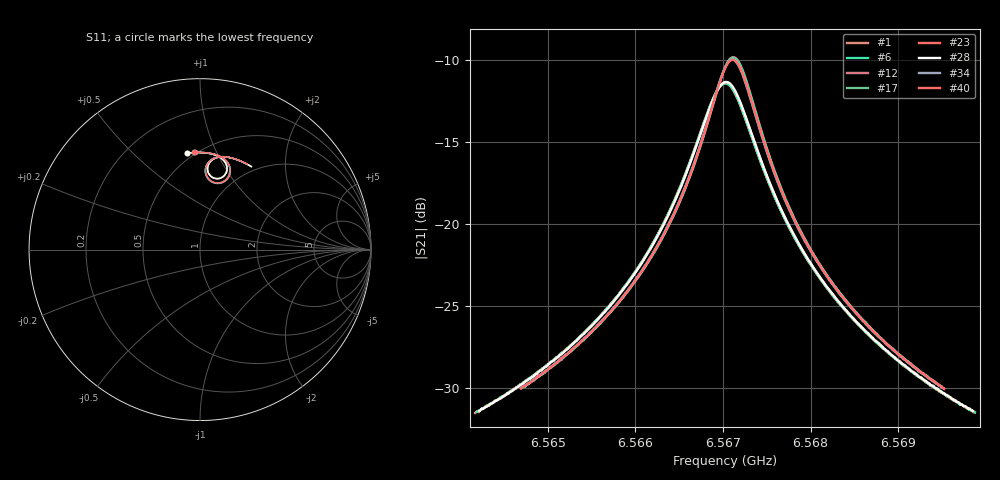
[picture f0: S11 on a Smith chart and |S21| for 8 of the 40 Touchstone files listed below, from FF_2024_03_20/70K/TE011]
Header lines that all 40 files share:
#  HZ  S  RI  R  50.00
! Rohde & Schwarz Vector Network Analyzer
! Rohde-Schwarz,ZNB20-2Port,1311601062101988,3.16
! freq[Hz]  re:S11  im:S11  re:S21  im:S21  re:S12  im:S12  re:S22  im:S22
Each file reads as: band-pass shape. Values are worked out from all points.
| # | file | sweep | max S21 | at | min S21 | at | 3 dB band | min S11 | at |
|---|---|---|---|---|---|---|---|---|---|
| 1 | 40_1_68.5_70.0406494_56879.648_110.46793699264526_.s2p | 6.564167 GHz to 6.569878 GHz | -11.44 dB | 6.567022 GHz | -31.5 dB | 6.564167 GHz | 6.566751 GHz-6.567308 GHz | -7.4 dB | 6.567022 GHz |
| 2 | 40_1_68.4996_70.0200958_7563.089_104.63719511032104_.s2p | 6.564773 GHz to 6.569473 GHz | -9.77 dB | 6.567123 GHz | -29.8 dB | 6.569473 GHz | 6.566888 GHz-6.567346 GHz | -8.0 dB | 6.567123 GHz |
| 3 | 41_1_68.4997_70.0419464_56040.934_113.00229907035828_.s2p | 6.564185 GHz to 6.569866 GHz | -11.43 dB | 6.567026 GHz | -31.5 dB | 6.569866 GHz | 6.566756 GHz-6.56731 GHz | -7.4 dB | 6.567026 GHz |
| 4 | 41_1_68.5002_70.0259399_7833.436_107.05433320999146_.s2p | 6.564771 GHz to 6.569474 GHz | -9.78 dB | 6.567122 GHz | -29.8 dB | 6.569474 GHz | 6.566887 GHz-6.567346 GHz | -8.0 dB | 6.567122 GHz |
| 5 | 42_1_68.5002_70.0216141_8073.328_109.49057865142822_.s2p | 6.564766 GHz to 6.569477 GHz | -9.79 dB | 6.567121 GHz | -29.8 dB | 6.569477 GHz | 6.566886 GHz-6.567345 GHz | -8.0 dB | 6.567121 GHz |
| 6 | 42_1_68.5003_70.0431442_55771.012_115.4502477645874_.s2p | 6.564184 GHz to 6.569869 GHz | -11.43 dB | 6.567026 GHz | -31.5 dB | 6.564184 GHz | 6.566756 GHz-6.56731 GHz | -7.4 dB | 6.567026 GHz |
| 7 | 43_1_68.5_70.0230179_8323.275_111.95527958869934_.s2p | 6.564764 GHz to 6.569477 GHz | -9.80 dB | 6.567121 GHz | -29.8 dB | 6.569477 GHz | 6.566885 GHz-6.567356 GHz | -8.0 dB | 6.567121 GHz |
| 8 | 43_1_68.4999_70.0418396_55551.566_117.8507468700409_.s2p | 6.56419 GHz to 6.569864 GHz | -11.42 dB | 6.567027 GHz | -31.5 dB | 6.569864 GHz | 6.566757 GHz-6.567311 GHz | -7.4 dB | 6.567027 GHz |
| 9 | 44_1_68.5_70.0440063_55282.25_120.26415538787842_.s2p | 6.56419 GHz to 6.569865 GHz | -11.41 dB | 6.567028 GHz | -31.5 dB | 6.569865 GHz | 6.566758 GHz-6.567311 GHz | -7.4 dB | 6.567028 GHz |
| 10 | 44_1_68.4991_70.0241013_9154.612_120.10255885124207_.s2p | 6.564757 GHz to 6.569483 GHz | -9.83 dB | 6.56712 GHz | -29.8 dB | 6.569483 GHz | 6.566884 GHz-6.567345 GHz | -8.0 dB | 6.56712 GHz |
| 11 | 45_1_68.4995_70.0430298_55061.867_122.73111820220947_.s2p | 6.564193 GHz to 6.569864 GHz | -11.41 dB | 6.567028 GHz | -31.5 dB | 6.569864 GHz | 6.566759 GHz-6.567312 GHz | -7.4 dB | 6.567028 GHz |
| 12 | 45_1_68.4999_70.0239944_9364.563_122.55794477462769_.s2p | 6.564743 GHz to 6.569492 GHz | -9.85 dB | 6.567117 GHz | -29.9 dB | 6.569492 GHz | 6.56688 GHz-6.567343 GHz | -8.0 dB | 6.567117 GHz |
| 13 | 46_1_68.4996_70.0226974_9624.753_125.04360127449036_.s2p | 6.564742 GHz to 6.569492 GHz | -9.86 dB | 6.567117 GHz | -29.9 dB | 6.569492 GHz | 6.566879 GHz-6.567343 GHz | -8.0 dB | 6.567117 GHz |
| 14 | 46_1_68.5007_70.0402374_54802.484_125.14091610908508_.s2p | 6.564195 GHz to 6.569864 GHz | -11.40 dB | 6.567029 GHz | -31.5 dB | 6.569864 GHz | 6.56676 GHz-6.567313 GHz | -7.4 dB | 6.567029 GHz |
| 15 | 47_1_68.4999_70.0198517_9875.171_127.44726133346558_.s2p | 6.564737 GHz to 6.569496 GHz | -9.87 dB | 6.567116 GHz | -29.9 dB | 6.569496 GHz | 6.566878 GHz-6.567342 GHz | -8.0 dB | 6.567116 GHz |
| 16 | 47_1_68.5003_70.0434265_54572.492_127.58570647239685_.s2p | 6.564198 GHz to 6.569862 GHz | -11.39 dB | 6.56703 GHz | -31.4 dB | 6.569862 GHz | 6.566761 GHz-6.567313 GHz | -7.4 dB | 6.56703 GHz |
| 17 | 48_1_68.4999_70.021759_10115.213_129.8547284603119_.s2p | 6.564735 GHz to 6.569496 GHz | -9.89 dB | 6.567115 GHz | -29.9 dB | 6.564735 GHz | 6.566877 GHz-6.567342 GHz | -8.0 dB | 6.567115 GHz |
| 18 | 48_1_68.4999_70.0423431_54312.621_129.97214078903198_.s2p | 6.564203 GHz to 6.569859 GHz | -11.39 dB | 6.567031 GHz | -31.5 dB | 6.569859 GHz | 6.566762 GHz-6.567314 GHz | -7.4 dB | 6.567031 GHz |
| 19 | 49_1_68.4997_70.021759_10345.691_132.269225358963_.s2p | 6.564731 GHz to 6.569499 GHz | -9.90 dB | 6.567115 GHz | -29.9 dB | 6.569499 GHz | 6.566876 GHz-6.567341 GHz | -8.0 dB | 6.567115 GHz |
| 20 | 49_1_68.4997_70.0467911_54072.859_132.44258522987366_.s2p | 6.564203 GHz to 6.56986 GHz | -11.38 dB | 6.567031 GHz | -31.4 dB | 6.56986 GHz | 6.566763 GHz-6.567314 GHz | -7.4 dB | 6.567031 GHz |
| 21 | 50_1_68.4999_70.0444031_53843.563_134.85294699668884_.s2p | 6.564205 GHz to 6.569859 GHz | -11.37 dB | 6.567032 GHz | -31.4 dB | 6.564205 GHz | 6.566763 GHz-6.567315 GHz | -7.4 dB | 6.567032 GHz |
| 22 | 50_1_68.5002_70.0207901_10605.846_134.6830735206604_.s2p | 6.564727 GHz to 6.569501 GHz | -9.90 dB | 6.567114 GHz | -29.9 dB | 6.564727 GHz | 6.566875 GHz-6.567341 GHz | -8.0 dB | 6.567114 GHz |
| 23 | 51_1_68.4999_70.047226_53594.086_137.29942393302917_.s2p | 6.564212 GHz to 6.569854 GHz | -11.37 dB | 6.567033 GHz | -31.4 dB | 6.564212 GHz | 6.566765 GHz-6.567315 GHz | -7.4 dB | 6.567033 GHz |
| 24 | 51_1_68.5004_70.0207901_10846.291_137.07121539115906_.s2p | 6.564725 GHz to 6.569501 GHz | -9.92 dB | 6.567113 GHz | -29.9 dB | 6.569501 GHz | 6.566874 GHz-6.56734 GHz | -8.0 dB | 6.567113 GHz |
| 25 | 52_1_68.5002_70.0257721_11066.981_139.51201796531677_.s2p | 6.564719 GHz to 6.569506 GHz | -9.93 dB | 6.567113 GHz | -30.0 dB | 6.569506 GHz | 6.566873 GHz-6.567352 GHz | -8.0 dB | 6.567113 GHz |
| 26 | 52_1_68.5006_70.0415878_53354.371_139.7383997440338_.s2p | 6.564214 GHz to 6.569854 GHz | -11.36 dB | 6.567034 GHz | -31.4 dB | 6.569854 GHz | 6.566766 GHz-6.567316 GHz | -7.4 dB | 6.567034 GHz |
| 27 | 53_1_68.4999_70.0251236_11327.374_141.91652011871338_.s2p | 6.564713 GHz to 6.569511 GHz | -9.94 dB | 6.567112 GHz | -30.0 dB | 6.569511 GHz | 6.566872 GHz-6.56734 GHz | -8.0 dB | 6.567112 GHz |
| 28 | 53_1_68.5005_70.0419159_53114.621_142.161967754364_.s2p | 6.564215 GHz to 6.569853 GHz | -11.35 dB | 6.567034 GHz | -31.4 dB | 6.564215 GHz | 6.566766 GHz-6.567316 GHz | -7.4 dB | 6.567034 GHz |
| 29 | 54_1_68.4997_70.0420151_52864.93_144.57686471939087_.s2p | 6.56422 GHz to 6.569851 GHz | -11.34 dB | 6.567035 GHz | -31.4 dB | 6.56422 GHz | 6.566768 GHz-6.567317 GHz | -7.4 dB | 6.567035 GHz |
| 30 | 54_1_68.5003_70.0251236_11577.225_144.36747312545776_.s2p | 6.564712 GHz to 6.569511 GHz | -9.95 dB | 6.567111 GHz | -30.0 dB | 6.569511 GHz | 6.566871 GHz-6.567339 GHz | -7.9 dB | 6.567111 GHz |
| 31 | 55_1_68.5001_70.0453796_52635.344_147.0134356021881_.s2p | 6.564224 GHz to 6.569848 GHz | -11.34 dB | 6.567036 GHz | -31.4 dB | 6.564224 GHz | 6.566769 GHz-6.567317 GHz | -7.4 dB | 6.567036 GHz |
| 32 | 55_1_68.5002_70.0252304_11817.51_146.78829646110535_.s2p | 6.564706 GHz to 6.569515 GHz | -9.97 dB | 6.56711 GHz | -30.0 dB | 6.569515 GHz | 6.56687 GHz-6.567339 GHz | -7.9 dB | 6.56711 GHz |
| 33 | 56_1_68.4997_70.0475464_52385.77_149.41091966629028_.s2p | 6.564225 GHz to 6.569849 GHz | -11.33 dB | 6.567037 GHz | -31.4 dB | 6.569849 GHz | 6.566769 GHz-6.567318 GHz | -7.4 dB | 6.567037 GHz |
| 34 | 56_1_68.5003_70.0251236_12057.527_149.21767926216125_.s2p | 6.564704 GHz to 6.569516 GHz | -9.98 dB | 6.56711 GHz | -30.0 dB | 6.569516 GHz | 6.566869 GHz-6.567339 GHz | -7.9 dB | 6.56711 GHz |
| 35 | 57_1_68.4998_70.0467911_52136.18_151.84070754051208_.s2p | 6.56423 GHz to 6.569845 GHz | -11.33 dB | 6.567037 GHz | -31.4 dB | 6.569845 GHz | 6.566771 GHz-6.567318 GHz | -7.4 dB | 6.567037 GHz |
| 36 | 57_1_68.4999_70.0257721_12308.068_151.6065399646759_.s2p | 6.564697 GHz to 6.569521 GHz | -9.99 dB | 6.567109 GHz | -30.0 dB | 6.564697 GHz | 6.566868 GHz-6.567338 GHz | -7.9 dB | 6.567109 GHz |
| 37 | 58_1_68.4994_70.0454865_51896.84_154.23937892913818_.s2p | 6.564228 GHz to 6.569848 GHz | -11.32 dB | 6.567038 GHz | -31.4 dB | 6.569848 GHz | 6.566771 GHz-6.567319 GHz | -7.4 dB | 6.567038 GHz |
| 38 | 58_1_68.5002_70.0279388_12528.266_154.04503560066223_.s2p | 6.564696 GHz to 6.56952 GHz | -10.00 dB | 6.567108 GHz | -30.0 dB | 6.564696 GHz | 6.566867 GHz-6.567338 GHz | -7.9 dB | 6.567108 GHz |
| 39 | 59_1_68.5_70.0406113_51656.695_156.70836186408997_.s2p | 6.564235 GHz to 6.569842 GHz | -11.31 dB | 6.567039 GHz | -31.4 dB | 6.569842 GHz | 6.566772 GHz-6.567319 GHz | -7.4 dB | 6.567039 GHz |
| 40 | 59_1_68.4997_70.0258789_12778.535_156.4563992023468_.s2p | 6.564691 GHz to 6.569524 GHz | -10.01 dB | 6.567108 GHz | -30.0 dB | 6.569524 GHz | 6.566866 GHz-6.567337 GHz | -7.9 dB | 6.567108 GHz |
